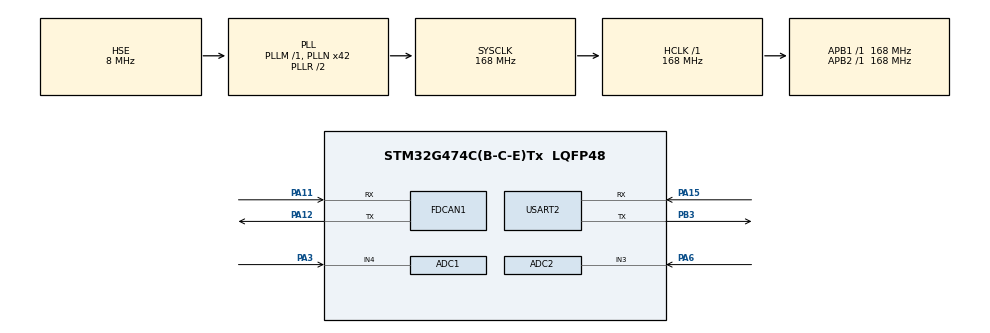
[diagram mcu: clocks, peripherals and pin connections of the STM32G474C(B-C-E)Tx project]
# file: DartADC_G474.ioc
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ADC1.Channel-1\#ChannelRegularConversion=ADC_CHANNEL_4
ADC1.DMAContinuousRequests=ENABLE
ADC1.ExternalTrigConv=ADC_EXTERNALTRIG_T6_TRGO
ADC1.NbrOfConversionFlag=1
ADC1.OffsetNumber-1\#ChannelRegularConversion=ADC_OFFSET_NONE
ADC1.OversamplingMode=ENABLE
ADC1.Rank-1\#ChannelRegularConversion=1
ADC1.Ratio=ADC_OVERSAMPLING_RATIO_16
ADC1.RightBitShift=ADC_RIGHTBITSHIFT_NONE
ADC1.SamplingTime-1\#ChannelRegularConversion=ADC_SAMPLETIME_47CYCLES_5
ADC1.master=1
ADC2.Channel-0\#ChannelRegularConversion=ADC_CHANNEL_3
ADC2.ClockPrescaler=ADC_CLOCK_SYNC_PCLK_DIV4
ADC2.DMAContinuousRequests=ENABLE
ADC2.ExternalTrigConv=ADC_EXTERNALTRIG_T6_TRGO
ADC2.NbrOfConversionFlag=1
ADC2.OffsetNumber-0\#ChannelRegularConversion=ADC_OFFSET_NONE
ADC2.OversamplingMode=ENABLE
ADC2.Rank-0\#ChannelRegularConversion=1
ADC2.Ratio=ADC_OVERSAMPLING_RATIO_16
ADC2.RightBitShift=ADC_RIGHTBITSHIFT_NONE
ADC2.SamplingTime-0\#ChannelRegularConversion=ADC_SAMPLETIME_12CYCLES_5
Dma.ADC1.1.Direction=DMA_PERIPH_TO_MEMORY
Dma.ADC1.1.EventEnable=DISABLE
Dma.ADC1.1.Instance=DMA1_Channel2
Dma.ADC1.1.MemDataAlignment=DMA_MDATAALIGN_HALFWORD
Dma.ADC1.1.MemInc=DMA_MINC_ENABLE
Dma.ADC1.1.Mode=DMA_CIRCULAR
Dma.ADC1.1.PeriphDataAlignment=DMA_PDATAALIGN_HALFWORD
Dma.ADC1.1.PeriphInc=DMA_PINC_DISABLE
Dma.ADC1.1.Polarity=HAL_DMAMUX_REQ_GEN_RISING
Dma.ADC1.1.Priority=DMA_PRIORITY_LOW
Dma.ADC1.1.RequestNumber=1
Dma.ADC1.1.SignalID=NONE
Dma.ADC1.1.SyncEnable=DISABLE
Dma.ADC1.1.SyncPolarity=HAL_DMAMUX_SYNC_NO_EVENT
Dma.ADC1.1.SyncRequestNumber=1
Dma.ADC1.1.SyncSignalID=NONE
Dma.ADC2.0.Direction=DMA_PERIPH_TO_MEMORY
Dma.ADC2.0.EventEnable=DISABLE
Dma.ADC2.0.Instance=DMA1_Channel1
Dma.ADC2.0.MemDataAlignment=DMA_MDATAALIGN_HALFWORD
Dma.ADC2.0.MemInc=DMA_MINC_ENABLE
Dma.ADC2.0.Mode=DMA_CIRCULAR
Dma.ADC2.0.PeriphDataAlignment=DMA_PDATAALIGN_HALFWORD
Dma.ADC2.0.PeriphInc=DMA_PINC_DISABLE
Dma.ADC2.0.Polarity=HAL_DMAMUX_REQ_GEN_RISING
Dma.ADC2.0.Priority=DMA_PRIORITY_LOW
Dma.ADC2.0.RequestNumber=1
Dma.ADC2.0.SignalID=NONE
Dma.ADC2.0.SyncEnable=DISABLE
Dma.ADC2.0.SyncPolarity=HAL_DMAMUX_SYNC_NO_EVENT
Dma.ADC2.0.SyncRequestNumber=1
Dma.ADC2.0.SyncSignalID=NONE
Dma.Request0=ADC2
Dma.Request1=ADC1
Dma.Request2=USART2_TX
Dma.Request3=USART2_RX
Dma.USART2_RX.3.Direction=DMA_PERIPH_TO_MEMORY
Dma.USART2_RX.3.EventEnable=DISABLE
Dma.USART2_RX.3.Instance=DMA1_Channel4
Dma.USART2_RX.3.MemDataAlignment=DMA_MDATAALIGN_BYTE
Dma.USART2_RX.3.MemInc=DMA_MINC_ENABLE
Dma.USART2_RX.3.Mode=DMA_NORMAL
Dma.USART2_RX.3.PeriphDataAlignment=DMA_PDATAALIGN_BYTE
Dma.USART2_RX.3.PeriphInc=DMA_PINC_DISABLE
Dma.USART2_RX.3.Polarity=HAL_DMAMUX_REQ_GEN_RISING
Dma.USART2_RX.3.Priority=DMA_PRIORITY_LOW
Dma.USART2_RX.3.RequestNumber=1
Dma.USART2_RX.3.SignalID=NONE
Dma.USART2_RX.3.SyncEnable=DISABLE
Dma.USART2_RX.3.SyncPolarity=HAL_DMAMUX_SYNC_NO_EVENT
Dma.USART2_RX.3.SyncRequestNumber=1
Dma.USART2_RX.3.SyncSignalID=NONE
Dma.USART2_TX.2.Direction=DMA_MEMORY_TO_PERIPH
Dma.USART2_TX.2.EventEnable=DISABLE
Dma.USART2_TX.2.Instance=DMA1_Channel3
Dma.USART2_TX.2.MemDataAlignment=DMA_MDATAALIGN_BYTE
Dma.USART2_TX.2.MemInc=DMA_MINC_ENABLE
Dma.USART2_TX.2.Mode=DMA_NORMAL
Dma.USART2_TX.2.PeriphDataAlignment=DMA_PDATAALIGN_BYTE
Dma.USART2_TX.2.PeriphInc=DMA_PINC_DISABLE
Dma.USART2_TX.2.Polarity=HAL_DMAMUX_REQ_GEN_RISING
Dma.USART2_TX.2.Priority=DMA_PRIORITY_LOW
Dma.USART2_TX.2.RequestNumber=1
Dma.USART2_TX.2.SignalID=NONE
Dma.USART2_TX.2.SyncEnable=DISABLE
Dma.USART2_TX.2.SyncPolarity=HAL_DMAMUX_SYNC_NO_EVENT
Dma.USART2_TX.2.SyncRequestNumber=1
Dma.USART2_TX.2.SyncSignalID=NONE
FDCAN1.CalculateBaudRateNominal=3500000
FDCAN1.CalculateTimeBitNominal=285
FDCAN1.CalculateTimeQuantumNominal=95.23809523809524
Mcu.Family=STM32G4
Mcu.Name=STM32G474C(B-C-E)Tx
Mcu.Package=LQFP48
NVIC.ADC1_2_IRQn=true\:0\:0\:false\:false\:true\:true\:true\:true
NVIC.DMA1_Channel1_IRQn=true\:0\:0\:false\:false\:true\:false\:true\:true
NVIC.DMA1_Channel2_IRQn=true\:0\:0\:false\:false\:true\:false\:true\:true
NVIC.DMA1_Channel3_IRQn=true\:0\:0\:false\:false\:true\:false\:true\:true
NVIC.DMA1_Channel4_IRQn=true\:0\:0\:false\:false\:true\:false\:true\:true
NVIC.PriorityGroup=NVIC_PRIORITYGROUP_4
NVIC.TIM20_UP_IRQn=true\:15\:0\:false\:false\:true\:false\:true\:true
NVIC.TimeBase=TIM20_UP_IRQn
NVIC.TimeBaseIP=TIM20
NVIC.USART2_IRQn=true\:0\:0\:false\:false\:true\:true\:true\:true
PA11.Mode=FDCAN_Activate
PA11.Signal=FDCAN1_RX
PA12.Mode=FDCAN_Activate
PA12.Signal=FDCAN1_TX
PA13.Mode=Serial_Wire
PA13.Signal=SYS_JTMS-SWDIO
PA14.Mode=Serial_Wire
PA14.Signal=SYS_JTCK-SWCLK
PA15.Mode=Asynchronous
PA15.Signal=USART2_RX
PA3.Mode=IN4-Single-Ended
PA3.Signal=ADC1_IN4
PA6.Mode=IN3-Single-Ended
PA6.Signal=ADC2_IN3
PB3.Mode=Asynchronous
PB3.Signal=USART2_TX
PF0-OSC_IN.Mode=HSE-External-Oscillator
PF0-OSC_IN.Signal=RCC_OSC_IN
PF1-OSC_OUT.Mode=HSE-External-Oscillator
PF1-OSC_OUT.Signal=RCC_OSC_OUT
ProjectManager.HeapSize=0x200
ProjectManager.StackSize=0x400
ProjectManager.TargetToolchain=CMake
RCC.ADC12Freq_Value=168000000
RCC.ADC345Freq_Value=168000000
RCC.AHBFreq_Value=168000000
RCC.APB1Freq_Value=168000000
RCC.APB1TimFreq_Value=168000000
RCC.APB2Freq_Value=168000000
RCC.APB2TimFreq_Value=168000000
RCC.CortexFreq_Value=168000000
RCC.EXTERNAL_CLOCK_VALUE=12288000
RCC.HCLKFreq_Value=168000000
RCC.HSE_VALUE=8000000
RCC.HSI48_VALUE=48000000
RCC.HSI_VALUE=16000000
RCC.LSE_VALUE=32768
RCC.PLLN=42
RCC.PLLSourceVirtual=RCC_PLLSOURCE_HSE
RCC.SYSCLKFreq_VALUE=168000000
RCC.SYSCLKSource=RCC_SYSCLKSOURCE_PLLCLK
RCC.USBFreq_Value=168000000
RCC.VCOOutputFreq_Value=336000000
STMicroelectronics.X-CUBE-ALGOBUILD.1.4.0.LibraryCcDSPOoLibraryJjDSPOoLibrary=true
TIM6.PeriodNoDither=50-1
TIM6.Prescaler=168-1
TIM6.TIM_MasterOutputTrigger=TIM_TRGO_UPDATE
USART2.VirtualMode-Asynchronous=VM_ASYNC
VP_STMicroelectronics.X-CUBE-ALGOBUILD_VS_DSPOoLibraryJjLibrary_1.4.0_1.4.0.Mode=DSPOoLibraryJjLibrary
VP_SYS_VS_DBSignals.Mode=DisableDeadBatterySignals
VP_SYS_VS_tim20.Mode=TIM20
VP_TIM6_VS_ClockSourceINT.Mode=Enable_Timer
board=custom

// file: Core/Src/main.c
/* USER CODE BEGIN Header */
/**
  ******************************************************************************
  * @file           : main.c
  * @brief          : Main program body
  ******************************************************************************
  * @attention
  *
  * Copyright (c) 2026 STMicroelectronics.
  * All rights reserved.
  *
  * This software is licensed under terms that can be found in the LICENSE file
  * in the root directory of this software component.
  * If no LICENSE file comes with this software, it is provided AS-IS.
  *
  ******************************************************************************
  */
/* USER CODE END Header */
#include "main.h"
#include "adc.h"
#include "dma.h"
#include "fdcan.h"
#include "tim.h"
#include "usart.h"
#include "gpio.h"

/* USER CODE BEGIN Includes */
#include <math.h>
#include <string.h>

/* USER CODE END Includes */

/* USER CODE BEGIN PTD */
typedef struct
{
  ADC_HandleTypeDef *hadc;

  float empty_adc;
  float weight_kg;
  float weight_adc;
  float val_adc;
  float force_kg;
} ForceSensor_t;

/* USER CODE END PTD */

/* USER CODE BEGIN PV */
//TODO: 手动砝码标定
static ForceSensor_t force_sensor_L = {
  .hadc = &hadc2,
  .empty_adc = 32767.0f,
  .weight_kg = 100.0f,
  .weight_adc = 65535.0f,
  .val_adc = 0.0f,
  .force_kg = 0.0f
};

static ForceSensor_t force_sensor_R = {
  .hadc = &hadc1,
  .empty_adc = 32760.0f,
  .weight_kg = 10.0f,
  .weight_adc = 40000.0f,
  .val_adc = 0.0f,
  .force_kg = 0.0f
};

static volatile uint16_t adc1_dma_latest = 0;
static volatile uint16_t adc2_dma_latest = 0;
static volatile uint32_t adc1_sample_count = 0;
static volatile uint32_t adc2_sample_count = 0;

static uint8_t force_tx_packet[8];

static volatile uint8_t force_uart_tx_ready = 1;

/* USER CODE END PV */

void SystemClock_Config(void);
/* USER CODE BEGIN PFP */
void ForceSensor_Init(void);
uint8_t ForceSensor_UpdateIfNewSamples(void);
float ForceSensor_AdcToKg(const ForceSensor_t *sensor);
void ForceSensor_SendPacket(void);

/* USER CODE END PFP */

/* USER CODE BEGIN 0 */
void ForceSensor_Init(void)
{
  HAL_ADC_Start_DMA(force_sensor_R.hadc, (uint32_t *)&adc1_dma_latest, 1);
  HAL_ADC_Start_DMA(force_sensor_L.hadc, (uint32_t *)&adc2_dma_latest, 1);

  __HAL_TIM_SET_COUNTER(&htim6, 0);
  HAL_TIM_Base_Start(&htim6);
}

uint8_t ForceSensor_UpdateIfNewSamples(void)
{
  static uint32_t last_adc1_sample_count = 0;
  static uint32_t last_adc2_sample_count = 0;
  uint32_t now_adc1_sample_count = adc1_sample_count;
  uint32_t now_adc2_sample_count = adc2_sample_count;

  if ((now_adc1_sample_count == last_adc1_sample_count) ||
      (now_adc2_sample_count == last_adc2_sample_count))
  {
    return 0;
  }

  last_adc1_sample_count = now_adc1_sample_count;
  last_adc2_sample_count = now_adc2_sample_count;

  force_sensor_R.val_adc = (float)adc1_dma_latest;
  force_sensor_L.val_adc = (float)adc2_dma_latest;

  force_sensor_R.force_kg = ForceSensor_AdcToKg(&force_sensor_R);
  force_sensor_L.force_kg = ForceSensor_AdcToKg(&force_sensor_L);

  return 1;
}

float ForceSensor_AdcToKg(const ForceSensor_t *sensor)
{
  const float span_adc = sensor->weight_adc - sensor->empty_adc;
  float force_kg;

  if ((fabsf(span_adc) < 1.0f) || (sensor->weight_kg <= 0.0f))
  {
    return 0.0f;
  }

  force_kg = (sensor->val_adc - sensor->empty_adc)
             * sensor->weight_kg / span_adc;

  if (force_kg < 0.0f)
  {
    force_kg = 0.0f;
  }
  else if (force_kg > 100.0f)
  {
    force_kg = 100.0f;
  }

  return force_kg;
}

void ForceSensor_SendPacket(void)
{
  if (force_uart_tx_ready == 0)
  {
    return;
  }

  memcpy(&force_tx_packet[0], &force_sensor_L.force_kg, sizeof(force_sensor_L.force_kg));
  memcpy(&force_tx_packet[4], &force_sensor_R.force_kg, sizeof(force_sensor_R.force_kg));

  force_uart_tx_ready = 0;
  if (HAL_UART_Transmit_DMA(&huart2, force_tx_packet, 8) != HAL_OK)
  {
    force_uart_tx_ready = 1;
  }
}

/* USER CODE END 0 */

int main(void)
{

  /* MCU Configuration--------------------------------------------------------*/

  /* Reset of all peripherals, Initializes the Flash interface and the Systick. */
  HAL_Init();

  /* Configure the system clock */
  SystemClock_Config();

  /* Initialize all configured peripherals */
  MX_GPIO_Init();
  MX_DMA_Init();
  MX_ADC1_Init();
  MX_ADC2_Init();
  MX_FDCAN1_Init();
  MX_USART2_UART_Init();
  MX_TIM6_Init();
  /* USER CODE BEGIN 2 */
  HAL_ADCEx_Calibration_Start(&hadc1, ADC_SINGLE_ENDED);
  HAL_ADCEx_Calibration_Start(&hadc2, ADC_SINGLE_ENDED);

  ForceSensor_Init();

  /* USER CODE END 2 */

  /* Infinite loop */
  while (1)
  {

    /* USER CODE BEGIN 3 */
    if (ForceSensor_UpdateIfNewSamples() != 0)
    {
      ForceSensor_SendPacket();
    }
  }
  /* USER CODE END 3 */
}

void SystemClock_Config(void)
{
  RCC_OscInitTypeDef RCC_OscInitStruct = {0};
  RCC_ClkInitTypeDef RCC_ClkInitStruct = {0};

  /** Configure the main internal regulator output voltage
  */
  HAL_PWREx_ControlVoltageScaling(PWR_REGULATOR_VOLTAGE_SCALE1_BOOST);

  /** Initializes the RCC Oscillators according to the specified parameters
  * in the RCC_OscInitTypeDef structure.
  */
  RCC_OscInitStruct.OscillatorType = RCC_OSCILLATORTYPE_HSE;
  RCC_OscInitStruct.HSEState = RCC_HSE_ON;
  RCC_OscInitStruct.PLL.PLLState = RCC_PLL_ON;
  RCC_OscInitStruct.PLL.PLLSource = RCC_PLLSOURCE_HSE;
  RCC_OscInitStruct.PLL.PLLM = RCC_PLLM_DIV1;
  RCC_OscInitStruct.PLL.PLLN = 42;
  RCC_OscInitStruct.PLL.PLLP = RCC_PLLP_DIV2;
  RCC_OscInitStruct.PLL.PLLQ = RCC_PLLQ_DIV2;
  RCC_OscInitStruct.PLL.PLLR = RCC_PLLR_DIV2;
  if (HAL_RCC_OscConfig(&RCC_OscInitStruct) != HAL_OK)
  {
    Error_Handler();
  }

  /** Initializes the CPU, AHB and APB buses clocks
  */
  RCC_ClkInitStruct.ClockType = RCC_CLOCKTYPE_HCLK|RCC_CLOCKTYPE_SYSCLK
                              |RCC_CLOCKTYPE_PCLK1|RCC_CLOCKTYPE_PCLK2;
  RCC_ClkInitStruct.SYSCLKSource = RCC_SYSCLKSOURCE_PLLCLK;
  RCC_ClkInitStruct.AHBCLKDivider = RCC_SYSCLK_DIV1;
  RCC_ClkInitStruct.APB1CLKDivider = RCC_HCLK_DIV1;
  RCC_ClkInitStruct.APB2CLKDivider = RCC_HCLK_DIV1;

  if (HAL_RCC_ClockConfig(&RCC_ClkInitStruct, FLASH_LATENCY_4) != HAL_OK)
  {
    Error_Handler();
  }
}

/* USER CODE BEGIN 4 */
void HAL_ADC_ConvCpltCallback(ADC_HandleTypeDef *hadc)
{
  if (hadc->Instance == ADC1)
  {
    adc1_sample_count++;
  }
  else if (hadc->Instance == ADC2)
  {
    adc2_sample_count++;
  }
}

void HAL_UART_TxCpltCallback(UART_HandleTypeDef *huart)
{
  if (huart->Instance == USART2)
  {
    force_uart_tx_ready = 1;
  }
}

/* USER CODE END 4 */

void Error_Handler(void)
{
  __disable_irq();
  while (1)
  {
  }
}
